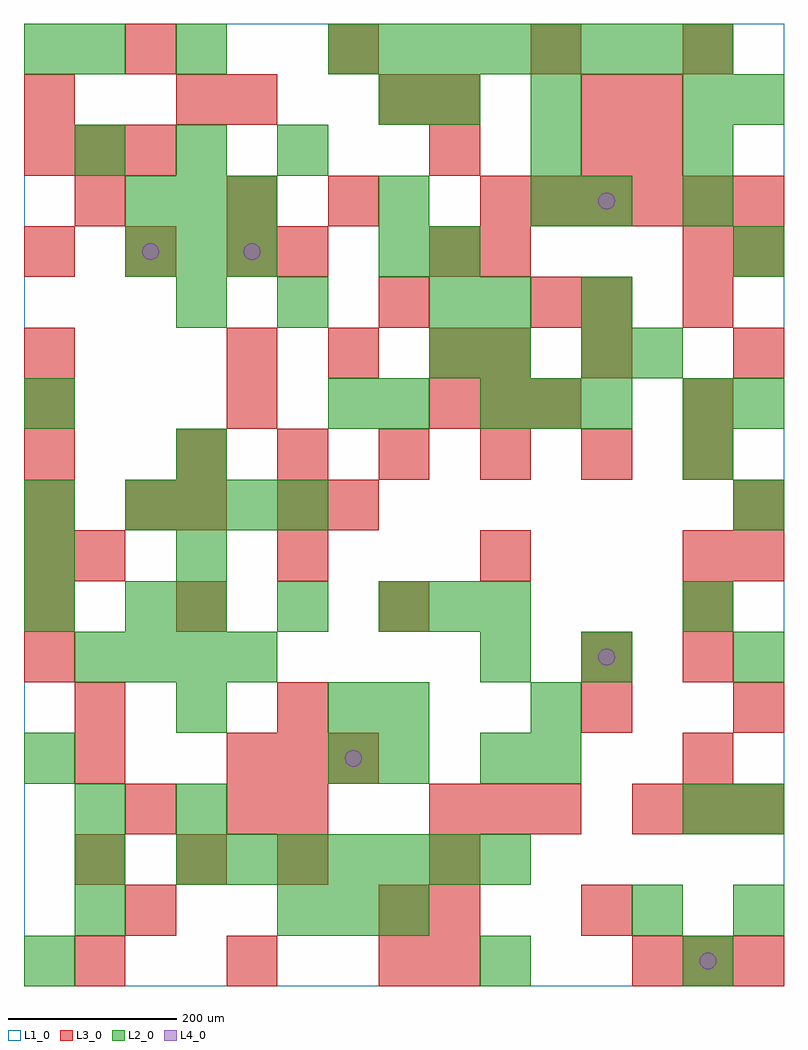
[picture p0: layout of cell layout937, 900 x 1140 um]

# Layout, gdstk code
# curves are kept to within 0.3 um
import gdstk
lib = gdstk.Library(unit=1e-6, precision=1e-09)
def R(c, l, rs):  # rectangles x0, y0, x1, y1
    for r in rs: c.add(gdstk.rectangle(r[:2], r[2:], *l))
def A(c, l, x, y, w, h, nx, ny, dx, dy):  # array of equal rectangles
    R(c, l, [(x+i*dx, y+j*dy, x+i*dx+w, y+j*dy+h) for i in range(nx) for j in range(ny)])
def P(c, l, *ps):  # polygons
    for p in ps: c.add(gdstk.Polygon(p, *l))
L1_0 = (1, 0)
L2_0 = (2, 0)
L3_0 = (3, 0)
L4_0 = (4, 0)

layout937 = lib.new_cell('layout937')
R(layout937, L1_0, [(0,0,900,1140)])
A(layout937, L2_0, 60, 60, 60, 60, 1, 3, 0, 60)
A(layout937, L2_0, 300, 60, 60, 60, 3, 1, 60, 0)
A(layout937, L2_0, 180, 120, 60, 60, 7, 1, 60, 0)
A(layout937, L2_0, 840, 180, 60, 60, 1, 3, 0, 180)
A(layout937, L2_0, 60, 360, 60, 60, 4, 1, 60, 0)
A(layout937, L2_0, 0, 420, 60, 60, 1, 3, 0, 60)
A(layout937, L2_0, 180, 420, 60, 60, 3, 1, 120, 0)
A(layout937, L2_0, 120, 540, 60, 60, 4, 1, 60, 0)
A(layout937, L2_0, 540, 660, 60, 60, 3, 1, 60, 0)
A(layout937, L2_0, 840, 660, 60, 60, 1, 3, 0, 180)
A(layout937, L2_0, 480, 720, 60, 60, 1, 3, 0, 60)
A(layout937, L2_0, 120, 840, 60, 60, 3, 2, 60, 60)
A(layout937, L2_0, 600, 900, 60, 60, 1, 3, 0, 60)
A(layout937, L2_0, 780, 900, 60, 60, 1, 3, 0, 60)
A(layout937, L2_0, 60, 960, 60, 60, 3, 1, 120, 0)
A(layout937, L2_0, 360, 1080, 60, 60, 8, 1, 60, 0)
R(layout937, L2_0, [(0,0,60,60), (540,0,600,60), (780,0,840,60), (720,60,780,120), (840,60,900,120), (180,180,240,240), (780,180,840,240), (0,240,60,300), (360,240,420,300), (420,240,480,300), (540,240,600,300), (600,240,660,300), (180,300,240,360), (360,300,420,360), (420,300,480,360), (600,300,660,360), (540,360,600,420), (660,360,720,420), (120,420,180,480), (480,420,540,480), (540,420,600,480), (780,420,840,480), (180,480,240,540), (180,600,240,660), (780,600,840,660), (0,660,60,720), (360,660,420,720), (420,660,480,720), (780,660,840,720), (540,720,600,780), (660,720,720,780), (720,720,780,780), (180,780,240,840), (300,780,360,840), (540,780,600,840), (660,780,720,840), (420,840,480,900), (420,900,480,960), (660,900,720,960), (420,1020,480,1080), (480,1020,540,1080), (0,1080,60,1140), (60,1080,120,1140), (180,1080,240,1140)])
A(layout937, L3_0, 60, 0, 60, 60, 3, 1, 180, 0)
A(layout937, L3_0, 480, 0, 60, 60, 1, 3, 0, 60)
A(layout937, L3_0, 720, 0, 60, 60, 3, 2, 60, 180)
A(layout937, L3_0, 420, 60, 60, 60, 1, 3, 0, 360)
A(layout937, L3_0, 60, 120, 60, 60, 3, 1, 120, 0)
A(layout937, L3_0, 480, 180, 60, 60, 3, 1, 60, 0)
A(layout937, L3_0, 240, 240, 60, 60, 3, 1, 60, 0)
A(layout937, L3_0, 0, 360, 60, 60, 1, 5, 0, 60)
A(layout937, L3_0, 60, 480, 60, 60, 4, 1, 240, 0)
A(layout937, L3_0, 180, 600, 60, 60, 6, 1, 120, 0)
A(layout937, L3_0, 0, 660, 60, 60, 3, 1, 240, 0)
A(layout937, L3_0, 240, 720, 60, 60, 3, 1, 120, 0)
A(layout937, L3_0, 0, 840, 60, 60, 3, 1, 120, 0)
A(layout937, L3_0, 540, 900, 60, 60, 6, 1, 60, 0)
A(layout937, L3_0, 0, 960, 60, 60, 3, 1, 60, 0)
A(layout937, L3_0, 120, 1080, 60, 60, 3, 1, 240, 0)
R(layout937, L3_0, [(120,60,180,120), (660,60,720,120), (120,180,180,240), (240,180,300,240), (300,180,360,240), (60,240,120,300), (780,240,840,300), (60,300,120,360), (300,300,360,360), (660,300,720,360), (840,300,900,360), (660,360,720,420), (780,360,840,420), (180,420,240,480), (780,420,840,480), (840,480,900,540), (120,540,180,600), (180,540,240,600), (300,540,360,600), (360,540,420,600), (840,540,900,600), (540,660,600,720), (600,660,660,720), (780,660,840,720), (0,720,60,780), (540,720,600,780), (660,720,720,780), (840,720,900,780), (600,780,660,840), (660,780,720,840), (780,780,840,840), (300,840,360,900), (480,840,540,900), (540,840,600,900), (780,840,840,900), (840,840,900,900), (60,900,120,960), (240,900,300,960), (360,900,420,960), (480,960,540,1020), (660,960,720,1020), (720,960,780,1020), (0,1020,60,1080), (180,1020,240,1080), (240,1020,300,1080), (420,1020,480,1080), (480,1020,540,1080), (660,1020,720,1080), (720,1020,780,1080), (780,1080,840,1140)])
P(layout937, L4_0, [(160,870),(159.239,873.827),(157.071,877.071),(153.827,879.239),(150,880),(146.173,879.239),(142.929,877.071),(140.761,873.827),(140,870),(140.761,866.173),(142.929,862.929),(146.173,860.761),(150,860),(153.827,860.761),(157.071,862.929),(159.239,866.173)],
  [(280,870),(279.239,873.827),(277.071,877.071),(273.827,879.239),(270,880),(266.173,879.239),(262.929,877.071),(260.761,873.827),(260,870),(260.761,866.173),(262.929,862.929),(266.173,860.761),(270,860),(273.827,860.761),(277.071,862.929),(279.239,866.173)],
  [(400,270),(399.239,273.827),(397.071,277.071),(393.827,279.239),(390,280),(386.173,279.239),(382.929,277.071),(380.761,273.827),(380,270),(380.761,266.173),(382.929,262.929),(386.173,260.761),(390,260),(393.827,260.761),(397.071,262.929),(399.239,266.173)],
  [(700,390),(699.239,393.827),(697.071,397.071),(693.827,399.239),(690,400),(686.173,399.239),(682.929,397.071),(680.761,393.827),(680,390),(680.761,386.173),(682.929,382.929),(686.173,380.761),(690,380),(693.827,380.761),(697.071,382.929),(699.239,386.173)],
  [(700,930),(699.239,933.827),(697.071,937.071),(693.827,939.239),(690,940),(686.173,939.239),(682.929,937.071),(680.761,933.827),(680,930),(680.761,926.173),(682.929,922.929),(686.173,920.761),(690,920),(693.827,920.761),(697.071,922.929),(699.239,926.173)],
  [(820,30),(819.239,33.827),(817.071,37.071),(813.827,39.239),(810,40),(806.173,39.239),(802.929,37.071),(800.761,33.827),(800,30),(800.761,26.173),(802.929,22.929),(806.173,20.761),(810,20),(813.827,20.761),(817.071,22.929),(819.239,26.173)])

lib.write_gds('layout937.gds')
